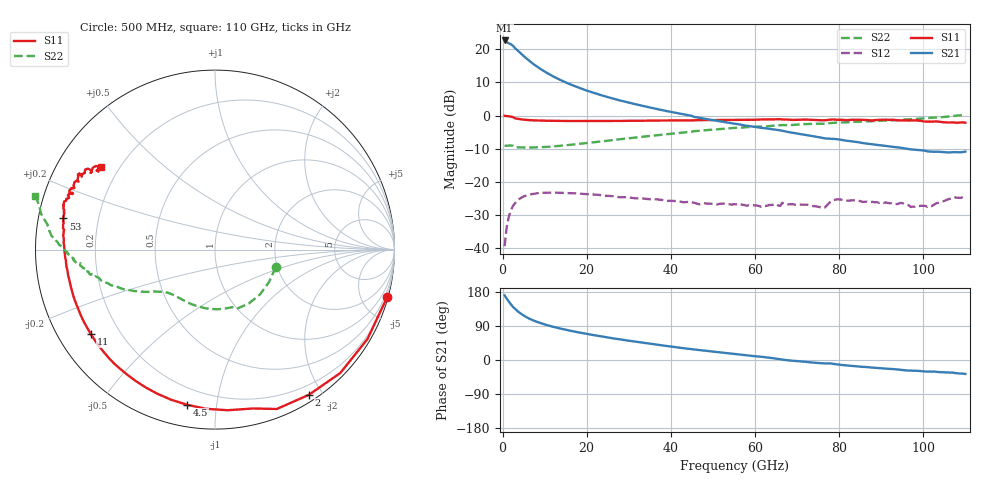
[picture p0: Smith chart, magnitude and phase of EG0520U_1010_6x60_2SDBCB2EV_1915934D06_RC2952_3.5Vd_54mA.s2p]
!File name = EG0520U_1010_6x60_2SDBCB2EV_1915934D06_RC2952_3.5Vd_54mA.s2p
!Base file name = EG0520U_1010_6x60_2SDBCB2EV_1915934D06_RC2952
!Date = 8/23/2019
!Time = 1:16 PM
!Test duration(min) = 0.15
!Test = S-Parameters
!MPTS version = 8.91.5
!State File = C:\Data\PNA\20190821205423\S-Parameters_2019-08-23.sta
!Cal File =
!ComputerName = CMPE-LAB-6
!Comments =
!Attenuation = 0
!Z0 = 50
!Input Power(dBm) = -13.00
!Device ID = EG0520U_1010_6x60_2SDBCB2EV
!Row = 29
!Column = 52
!Technology = QPHT09
!Lot/Wafer = 1915934D06
!Gate Size = 360
!Mask = EG0520
!Cal Standards = GaAs BCB
!Cal Kit = EG2306
!Job Number = 20190821205423
!Device Type = FET
!set_Vg(v) = -1.500
!set_Vd(v) = 3.500
!set_Vd(mA) = 54.000
!file_name = EG0520U_1010_6x60_2SDBCB2EV_1915934D06_RC2952_3.5Vd_54mA.s2p
!Vd(V) = 3.500
!Vd(mA) = 54.054
!Vg(V) = -0.432
!Vg(mA) = -0.001
# GHz  S  DB  R  50
!%	Freq(GHz)  s11(dB)  s11(deg)  s21(dB)  s21(deg)  s12(dB)  s12(deg)  s22(dB)  s22(deg)
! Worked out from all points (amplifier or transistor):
!   220 points, 500 MHz to 110 GHz, reference 50 ohm
!   highest |S21| = 22.7 dB at 500 MHz (marker M1)
!   |S21| within 3 dB of that: start of sweep to 3.562 GHz
!   unconditionally stable (mu >= 1): 30.35 GHz to 102.3 GHz
!   at 18.5 GHz: K = 0.58, MSG = 15.9 dB, |S12| = -23.5 dB
!   at 55.5 GHz: K = 1.59, MAG = 7.6 dB, |S12| = -26.8 dB
!   at 110 GHz: K = -1.85, MSG = 6.6 dB, |S12| = -24.1 dB
!   S11 on the Smith chart (normalised r, x): 500 MHz: 0.14, -7.39; 2 GHz: 0.08, -1.83; 4.5 GHz: 0.11, -0.83; 11 GHz: 0.10, -0.31; 53 GHz: 0.07, +0.10; 110 GHz: 0.13, +0.32
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0.5  -0.04 -15.4  22.68 170.6  -39.36 81.0  -9.06 -16.1
1  -0.13 -30.4  22.19 161.9  -33.61 73.0  -9.09 -30.7
1.5  -0.18 -44.5  21.80 154.1  -30.50 65.4  -9.02 -44.7
2  -0.32 -57.2  21.53 146.7  -28.53 58.5  -9.00 -58.1
2.5  -0.42 -68.8  21.05 140.1  -27.18 52.6  -9.10 -68.8
3  -0.82 -76.6  20.34 134.9  -26.39 48.2  -9.50 -73.2
3.5  -0.94 -85.5  19.75 129.8  -25.67 43.8  -9.54 -81.3
4.5  -1.13 -100.2  18.58 121.2  -24.71 36.5  -9.58 -94.7
5.5  -1.26 -111.8  17.45 114.2  -24.15 30.8  -9.63 -104.8
7  -1.40 -124.9  15.90 105.9  -23.65 24.5  -9.60 -115.5
9  -1.49 -136.9  14.11 97.6  -23.31 18.6  -9.53 -124.3
11  -1.54 -145.8  12.56 90.7  -23.22 14.2  -9.39 -130.4
14.5  -1.60 -156.4  10.32 81.1  -23.31 9.0  -9.01 -137.0
19  -1.62 -165.2  8.02 71.0  -23.58 4.8  -8.41 -141.8
27  -1.58 -175.0  4.89 55.9  -24.35 1.6  -7.24 -147.3
37  -1.47 177.3  1.92 39.8  -25.28 2.8  -5.84 -153.2
53  -1.29 168.4  -1.99 18.2  -26.70 9.2  -3.92 -163.2
55.5  -1.27 167.0  -2.48 15.3  -26.76 10.4  -3.66 -164.7
73.5  -1.26 158.9  -6.15 -6.5  -27.22 10.5  -2.43 -173.2
92  -1.27 150.7  -9.29 -23.5  -26.43 -2.5  -1.45 179.2
101  -1.78 148.4  -10.77 -30.5  -27.48 -0.1  -0.70 174.2
110  -2.13 144.2  -10.85 -36.8  -24.07 -3.7  0.40 163.5
